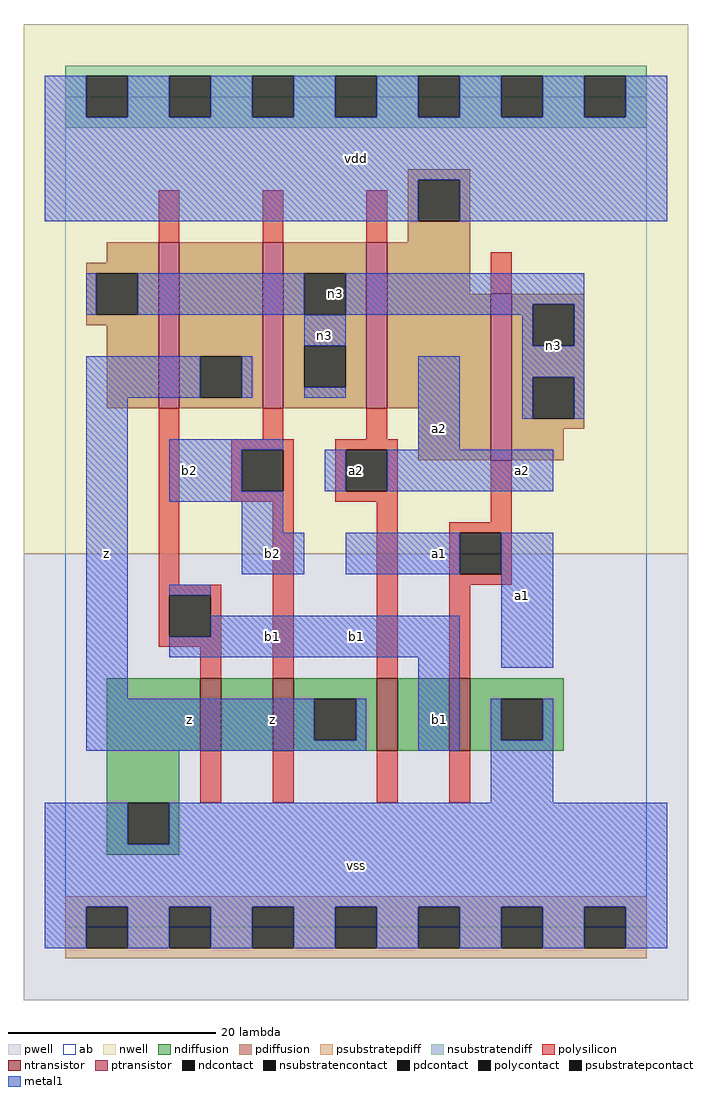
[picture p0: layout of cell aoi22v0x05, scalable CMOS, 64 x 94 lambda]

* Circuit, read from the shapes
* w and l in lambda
.subckt aoi22v0x05 a1 a2 b1 b2 n3 vdd vss z
M1 n1 b1 vss vss nfet w=7 l=2
M2 z b2 n1 vss nfet w=7 l=2
M3 n2 a2 z vss nfet w=7 l=2
M4 vss a1 n2 vss nfet w=7 l=2
M5 z b1 n3 vdd pfet w=16 l=2
M6 n3 b2 z vdd pfet w=16 l=2
M7 vdd a2 n3 vdd pfet w=16 l=2
M8 n3 a1 vdd vdd pfet w=16 l=2
.ends

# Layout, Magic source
magic
tech scmos
<< ab >>
rect 0 0 56 80
<< pwell >>
rect -4 -7 60 36
<< nwell >>
rect -4 36 60 87
<< polysilicon >>
rect 9 66 11 71
rect 19 66 21 71
rect 29 66 31 71
rect 41 61 43 65
rect 9 33 11 50
rect 19 47 21 50
rect 29 47 31 50
rect 16 46 22 47
rect 16 42 17 46
rect 21 42 22 46
rect 16 41 22 42
rect 26 46 32 47
rect 26 42 27 46
rect 31 42 32 46
rect 26 41 32 42
rect 9 32 15 33
rect 9 28 10 32
rect 14 28 15 32
rect 9 27 15 28
rect 13 24 15 27
rect 20 24 22 41
rect 30 24 32 41
rect 41 39 43 45
rect 37 38 43 39
rect 37 34 38 38
rect 42 34 43 38
rect 37 33 43 34
rect 37 24 39 33
rect 13 12 15 17
rect 20 12 22 17
rect 30 12 32 17
rect 37 12 39 17
<< ndiffusion >>
rect 4 17 13 24
rect 15 17 20 24
rect 22 22 30 24
rect 22 18 24 22
rect 28 18 30 22
rect 22 17 30 18
rect 32 17 37 24
rect 39 22 48 24
rect 39 18 42 22
rect 46 18 48 22
rect 39 17 48 18
rect 4 12 11 17
rect 4 8 6 12
rect 10 8 11 12
rect 4 7 11 8
<< pdiffusion >>
rect 33 72 39 73
rect 33 68 34 72
rect 38 68 39 72
rect 33 66 39 68
rect 4 64 9 66
rect 2 63 9 64
rect 2 59 3 63
rect 7 59 9 63
rect 2 58 9 59
rect 4 50 9 58
rect 11 55 19 66
rect 11 51 13 55
rect 17 51 19 55
rect 11 50 19 51
rect 21 63 29 66
rect 21 59 23 63
rect 27 59 29 63
rect 21 56 29 59
rect 21 52 23 56
rect 27 52 29 56
rect 21 50 29 52
rect 31 61 39 66
rect 31 50 41 61
rect 34 45 41 50
rect 43 60 50 61
rect 43 56 45 60
rect 49 56 50 60
rect 43 53 50 56
rect 43 49 45 53
rect 49 49 50 53
rect 43 48 50 49
rect 43 45 48 48
<< metal1 >>
rect -2 78 2 82
rect 6 78 10 82
rect 14 78 18 82
rect 22 78 26 82
rect 30 78 34 82
rect 38 78 42 82
rect 46 78 50 82
rect 54 78 58 82
rect -2 72 58 78
rect -2 68 34 72
rect 38 68 58 72
rect 2 59 3 63
rect 7 59 23 63
rect 27 60 50 63
rect 27 59 45 60
rect 23 56 27 59
rect 2 51 13 55
rect 17 51 18 55
rect 44 56 45 59
rect 49 56 50 60
rect 23 51 27 52
rect 2 22 6 51
rect 10 46 21 47
rect 34 46 38 55
rect 44 53 50 56
rect 44 49 45 53
rect 49 49 50 53
rect 10 42 17 46
rect 25 42 27 46
rect 31 42 47 46
rect 10 41 21 42
rect 17 38 21 41
rect 17 34 23 38
rect 27 34 38 38
rect 10 32 14 33
rect 14 28 38 30
rect 10 26 38 28
rect 2 18 24 22
rect 28 18 29 22
rect 2 17 29 18
rect 34 17 38 26
rect 42 25 47 38
rect 41 18 42 22
rect 46 18 47 22
rect 41 12 47 18
rect -2 8 6 12
rect 10 8 58 12
rect -2 2 58 8
rect -2 -2 2 2
rect 6 -2 10 2
rect 14 -2 18 2
rect 22 -2 26 2
rect 30 -2 34 2
rect 38 -2 42 2
rect 46 -2 50 2
rect 54 -2 58 2
<< ntransistor >>
rect 13 17 15 24
rect 20 17 22 24
rect 30 17 32 24
rect 37 17 39 24
<< ptransistor >>
rect 9 50 11 66
rect 19 50 21 66
rect 29 50 31 66
rect 41 45 43 61
<< polycontact >>
rect 17 42 21 46
rect 27 42 31 46
rect 10 28 14 32
rect 38 34 42 38
<< ndcontact >>
rect 24 18 28 22
rect 42 18 46 22
rect 6 8 10 12
<< pdcontact >>
rect 34 68 38 72
rect 3 59 7 63
rect 13 51 17 55
rect 23 59 27 63
rect 23 52 27 56
rect 45 56 49 60
rect 45 49 49 53
<< psubstratepcontact >>
rect 2 -2 6 2
rect 10 -2 14 2
rect 18 -2 22 2
rect 26 -2 30 2
rect 34 -2 38 2
rect 42 -2 46 2
rect 50 -2 54 2
<< nsubstratencontact >>
rect 2 78 6 82
rect 10 78 14 82
rect 18 78 22 82
rect 26 78 30 82
rect 34 78 38 82
rect 42 78 46 82
rect 50 78 54 82
<< psubstratepdiff >>
rect 0 2 56 3
rect 0 -2 2 2
rect 6 -2 10 2
rect 14 -2 18 2
rect 22 -2 26 2
rect 30 -2 34 2
rect 38 -2 42 2
rect 46 -2 50 2
rect 54 -2 56 2
rect 0 -3 56 -2
<< nsubstratendiff >>
rect 0 82 56 83
rect 0 78 2 82
rect 6 78 10 82
rect 14 78 18 82
rect 22 78 26 82
rect 30 78 34 82
rect 38 78 42 82
rect 46 78 50 82
rect 54 78 56 82
rect 0 77 56 78
<< labels >>
rlabel metal1 4 36 4 36 6 z
rlabel metal1 12 20 12 20 6 z
rlabel metal1 12 44 12 44 6 b2
rlabel metal1 28 6 28 6 6 vss
rlabel metal1 20 20 20 20 6 z
rlabel metal1 20 28 20 28 6 b1
rlabel metal1 28 28 28 28 6 b1
rlabel metal1 20 36 20 36 6 b2
rlabel polycontact 28 44 28 44 6 a2
rlabel metal1 25 57 25 57 6 n3
rlabel metal1 28 74 28 74 6 vdd
rlabel metal1 36 20 36 20 6 b1
rlabel metal1 44 32 44 32 6 a1
rlabel metal1 36 36 36 36 6 a1
rlabel metal1 44 44 44 44 6 a2
rlabel metal1 36 48 36 48 6 a2
rlabel metal1 47 56 47 56 6 n3
rlabel pdcontact 26 61 26 61 6 n3
<< end >>
